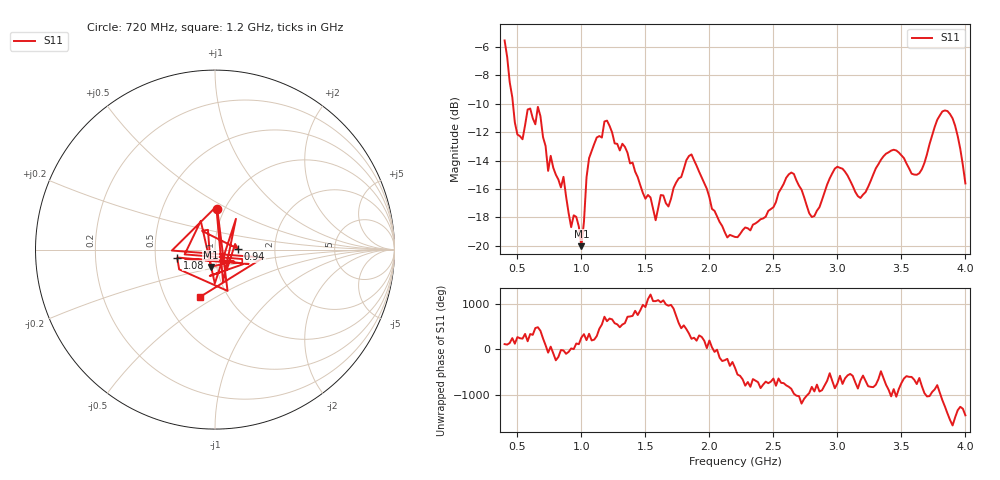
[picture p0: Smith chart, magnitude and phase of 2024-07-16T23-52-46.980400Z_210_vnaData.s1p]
!Created with skrf (http://scikit-rf.org).
# Hz S RI R 50.0
!freq ReS11 ImS11
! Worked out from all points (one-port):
!   181 points, 400 MHz to 4 GHz, reference 50 ohm
!   lowest |S11| = -20.0 dB at 1 GHz (marker M1), VSWR 1.22, Z = 46.8 - j9.15 ohm
!   |S11| at or under -10 dB: 465.1 MHz to end of sweep
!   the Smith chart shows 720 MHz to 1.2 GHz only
!   S11 on the Smith chart (normalised r, x): 720 MHz: 0.92, +0.43; 940 MHz: 1.29, +0.01; 1.08 GHz: 0.65, -0.06; 1.2 GHz: 0.74, -0.42
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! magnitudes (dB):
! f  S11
! 400 MHz  -5.6
! 500 MHz  -12.2
! 660 MHz  -10.2
! 720 MHz  -13.0
! 740 MHz  -14.7
! 860 MHz  -15.1
! 920 MHz  -18.7
! 940 MHz  -17.9
! 1 GHz  -20.0
! 1.04 GHz  -15.2
! 1.08 GHz  -13.3
! 1.2 GHz  -11.2
! 1.3 GHz  -13.3
! 1.58 GHz  -18.2
! 1.76 GHz  -15.3
! 1.86 GHz  -13.6
! 2.2 GHz  -19.4
! 2.66 GHz  -14.9
! 2.8 GHz  -18.0
! 2.98 GHz  -14.6
! 3.1 GHz  -15.4
! 3.18 GHz  -16.6
! 3.44 GHz  -13.2
! 3.56 GHz  -14.6
! 3.64 GHz  -14.9
! 3.86 GHz  -10.5
! 3.94 GHz  -12.3
! 4 GHz  -15.6
